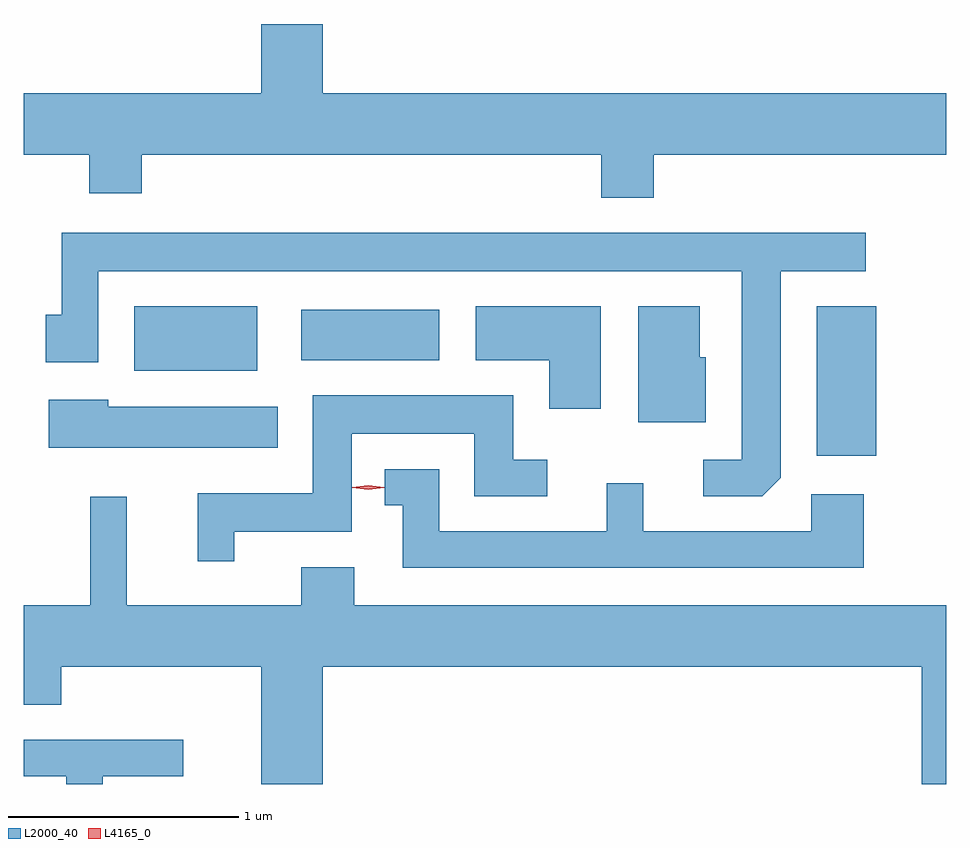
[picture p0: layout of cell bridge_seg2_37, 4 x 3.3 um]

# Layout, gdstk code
import gdstk
lib = gdstk.Library(unit=1e-6, precision=1e-09)
def R(c, l, rs):  # rectangles x0, y0, x1, y1
    for r in rs: c.add(gdstk.rectangle(r[:2], r[2:], *l))
def P(c, l, *ps):  # polygons
    for p in ps: c.add(gdstk.Polygon(p, *l))
L2000_40 = (2000, 40)
L4165_0 = (4165, 0)

bridge_seg2_37 = lib.new_cell('bridge_seg2_37')
R(bridge_seg2_37, L2000_40, [(1456.246,1053.671,1456.504,1054.319), (1453.286,1054.041,1453.819,1054.319), (1454.011,1054.086,1454.609,1054.304)])
P(bridge_seg2_37, L2000_40, [(1455.311,1054.791),(1455.539,1054.791),(1455.539,1054.976),(1456.807,1054.976),(1456.807,1055.244),(1454.104,1055.244),(1454.104,1055.544),(1453.836,1055.544),(1453.836,1055.244),(1452.807,1055.244),(1452.807,1054.976),(1453.091,1054.976),(1453.091,1054.811),(1453.319,1054.811),(1453.319,1054.976),(1455.311,1054.976)],
  [(1456.089,1053.577),(1456.089,1054.471),(1456.458,1054.471),(1456.458,1054.639),(1452.971,1054.639),(1452.971,1054.284),(1452.901,1054.284),(1452.901,1054.076),(1453.129,1054.076),(1453.129,1054.471),(1455.921,1054.471),(1455.921,1053.654),(1455.753,1053.654),(1455.753,1053.496),(1456.009,1053.496)],
  [(1455.764,1054.099),(1455.739,1054.099),(1455.739,1054.319),(1455.471,1054.319),(1455.471,1053.816),(1455.764,1053.816)],
  [(1455.309,1054.319),(1454.766,1054.319),(1454.766,1054.086),(1455.086,1054.086),(1455.086,1053.876),(1455.309,1053.876)],
  [(1453.719,1053.341),(1454.229,1053.341),(1454.229,1053.766),(1454.761,1053.766),(1454.761,1053.496),(1455.078,1053.496),(1455.078,1053.654),(1454.929,1053.654),(1454.929,1053.934),(1454.061,1053.934),(1454.061,1053.509),(1453.561,1053.509),(1453.561,1053.213),(1453.719,1053.213)],
  [(1453.909,1053.884),(1453.174,1053.884),(1453.174,1053.914),(1452.916,1053.914),(1452.916,1053.706),(1453.909,1053.706)],
  [(1456.449,1053.504),(1456.221,1053.504),(1456.221,1053.344),(1455.494,1053.344),(1455.494,1053.553),(1455.336,1053.553),(1455.336,1053.344),(1454.609,1053.344),(1454.609,1053.614),(1454.373,1053.614),(1454.373,1053.456),(1454.451,1053.456),(1454.451,1053.186),(1456.449,1053.186)],
  [(1454.104,1052.756),(1456.701,1052.756),(1456.701,1052.248),(1456.807,1052.248),(1456.807,1053.024),(1454.239,1053.024),(1454.239,1053.189),(1454.011,1053.189),(1454.011,1053.024),(1453.254,1053.024),(1453.254,1053.493),(1453.096,1053.493),(1453.096,1053.024),(1452.807,1053.024),(1452.807,1052.591),(1452.969,1052.591),(1452.969,1052.756),(1453.836,1052.756),(1453.836,1052.248),(1454.104,1052.248)],
  [(1453.149,1052.281),(1453.498,1052.281),(1453.498,1052.439),(1452.807,1052.439),(1452.807,1052.281),(1452.991,1052.281),(1452.991,1052.248),(1453.149,1052.248)])
P(bridge_seg2_37, L4165_0, [(1454.301,1053.524),(1454.232,1053.533),(1454.232,1053.534),(1454.232,1053.534),(1454.301,1053.543),(1454.371,1053.534),(1454.371,1053.534),(1454.371,1053.533)])

lib.write_gds('bridge_seg2_37.gds')
